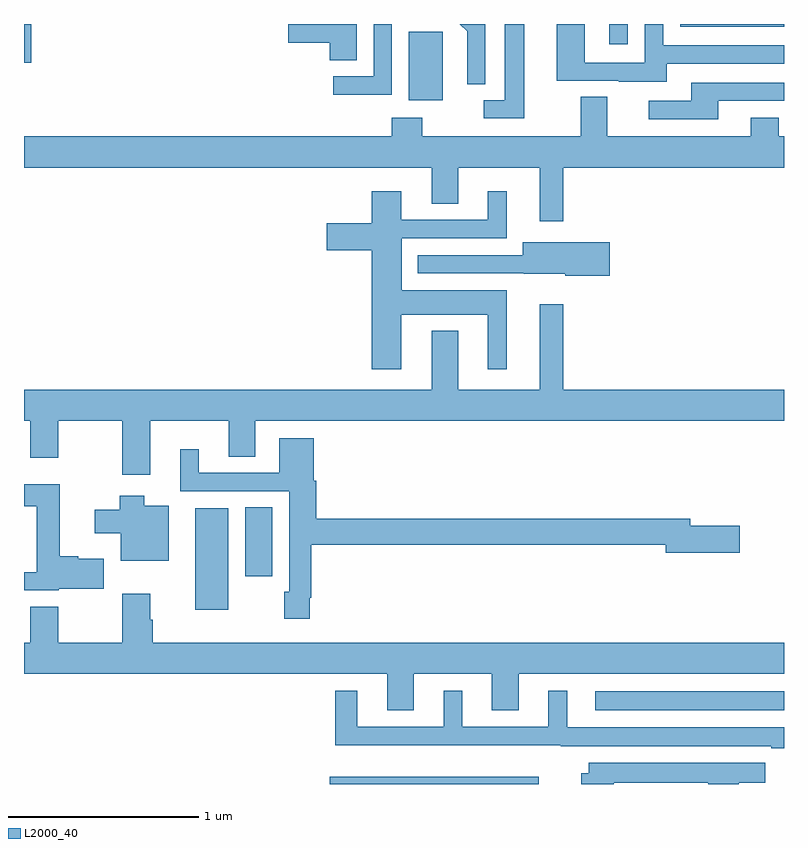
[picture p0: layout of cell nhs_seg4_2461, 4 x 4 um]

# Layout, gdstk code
import gdstk
lib = gdstk.Library(unit=1e-6, precision=1e-09)
def R(c, l, rs):  # rectangles x0, y0, x1, y1
    for r in rs: c.add(gdstk.rectangle(r[:2], r[2:], *l))
def P(c, l, *ps):  # polygons
    for p in ps: c.add(gdstk.Polygon(p, *l))
L2000_40 = (2000, 40)

nhs_seg4_2461 = lib.new_cell('nhs_seg4_2461')
R(nhs_seg4_2461, L2000_40, [(240.608,802.9,241.708,802.939), (242.007,803.288,243,803.389), (239.9,803.816,240.076,804.352), (240.164,803.994,240.307,804.356), (241.025,806.498,241.204,806.859), (239,806.697,239.039,806.9), (242.081,806.793,242.178,806.9), (242.454,806.886,243,806.9)])
P(nhs_seg4_2461, L2000_40, [(241.633,806.9),(241.529,806.9),(241.529,806.499),(241.419,806.499),(241.419,806.403),(241.633,806.403)],
  [(240.751,806.9),(240.39,806.9),(240.39,806.801),(240.608,806.801),(240.608,806.71),(240.751,806.71)],
  [(241.428,806.9),(241.294,806.9),(241.334,806.861),(241.334,806.738),(241.332,806.738),(241.332,806.584),(241.428,806.584)],
  [(240.936,806.9),(240.84,806.9),(240.84,806.625),(240.627,806.625),(240.627,806.527),(240.936,806.527)],
  [(242.383,806.691),(243,806.691),(243,806.787),(242.364,806.787),(242.364,806.9),(242.268,806.9),(242.268,806.697),(241.95,806.697),(241.95,806.9),(241.805,806.9),(241.805,806.601),(242.129,806.601),(242.129,806.597),(242.383,806.597)],
  [(242.653,806.496),(243,806.496),(243,806.592),(242.513,806.592),(242.513,806.496),(242.289,806.496),(242.289,806.4),(242.653,806.4)],
  [(241.837,806.144),(243,806.144),(243,806.308),(242.973,806.308),(242.973,806.407),(242.825,806.407),(242.825,806.308),(242.071,806.308),(242.071,806.516),(241.931,806.516),(241.931,806.308),(241.095,806.308),(241.095,806.407),(240.935,806.407),(240.935,806.308),(239,806.308),(239,806.144),(241.145,806.144),(241.145,805.954),(241.285,805.954),(241.285,806.144),(241.715,806.144),(241.715,805.863),(241.837,805.863)],
  [(240.985,805.37),(241.442,805.37),(241.442,805.083),(241.54,805.083),(241.54,805.498),(240.988,805.498),(240.988,805.773),(241.54,805.773),(241.54,806.02),(241.442,806.02),(241.442,805.869),(240.985,805.869),(240.985,806.02),(240.83,806.02),(240.83,805.851),(240.594,805.851),(240.594,805.709),(240.83,805.709),(240.83,805.083),(240.985,805.083)],
  [(242.083,805.752),(241.625,805.752),(241.625,805.683),(241.073,805.683),(241.073,805.587),(241.629,805.587),(241.629,805.586),(241.848,805.586),(241.848,805.574),(242.083,805.574)],
  [(239.665,804.812),(240.077,804.812),(240.077,804.622),(240.217,804.622),(240.217,804.812),(243,804.812),(243,804.976),(241.837,804.976),(241.837,805.426),(241.715,805.426),(241.715,804.976),(241.285,804.976),(241.285,805.285),(241.145,805.285),(241.145,804.976),(239,804.976),(239,804.812),(239.033,804.812),(239.033,804.618),(239.181,804.618),(239.181,804.812),(239.518,804.812),(239.518,804.528),(239.665,804.528)],
  [(240.505,803.881),(240.512,803.881),(240.512,804.16),(242.378,804.16),(242.378,804.118),(242.767,804.118),(242.767,804.26),(242.506,804.26),(242.506,804.296),(240.539,804.296),(240.539,804.495),(240.526,804.495),(240.526,804.721),(240.344,804.721),(240.344,804.537),(239.92,804.537),(239.92,804.661),(239.822,804.661),(239.822,804.441),(240.396,804.441),(240.396,803.913),(240.37,803.913),(240.37,803.769),(240.505,803.769)],
  [(239.184,803.927),(239.419,803.927),(239.419,804.085),(239.285,804.085),(239.285,804.098),(239.188,804.098),(239.188,804.478),(239,804.478),(239,804.362),(239.066,804.362),(239.066,804.015),(239,804.015),(239,803.919),(239.184,803.919)],
  [(239.761,804.364),(239.632,804.364),(239.632,804.418),(239.503,804.418),(239.503,804.343),(239.373,804.343),(239.373,804.221),(239.51,804.221),(239.51,804.074),(239.761,804.074)],
  [(241.051,803.48),(241.463,803.48),(241.463,803.287),(241.603,803.287),(241.603,803.48),(243,803.48),(243,803.644),(239.678,803.644),(239.678,803.765),(239.665,803.765),(239.665,803.902),(239.518,803.902),(239.518,803.644),(239.181,803.644),(239.181,803.834),(239.034,803.834),(239.034,803.644),(239,803.644),(239,803.48),(240.911,803.48),(240.911,803.287),(241.051,803.287)],
  [(243,803.2),(241.858,803.2),(241.858,803.392),(241.76,803.392),(241.76,803.202),(241.306,803.202),(241.306,803.392),(241.208,803.392),(241.208,803.202),(240.754,803.202),(240.754,803.392),(240.637,803.392),(240.637,803.105),(241.824,803.105),(241.824,803.099),(242.933,803.099),(242.933,803.089),(243,803.089)],
  [(242.105,802.907),(242.6,802.907),(242.6,802.9),(242.762,802.9),(242.762,802.907),(242.902,802.907),(242.902,803.011),(241.973,803.011),(241.973,802.957),(241.934,802.957),(241.934,802.9),(242.105,802.9)])

lib.write_gds('nhs_seg4_2461.gds')
